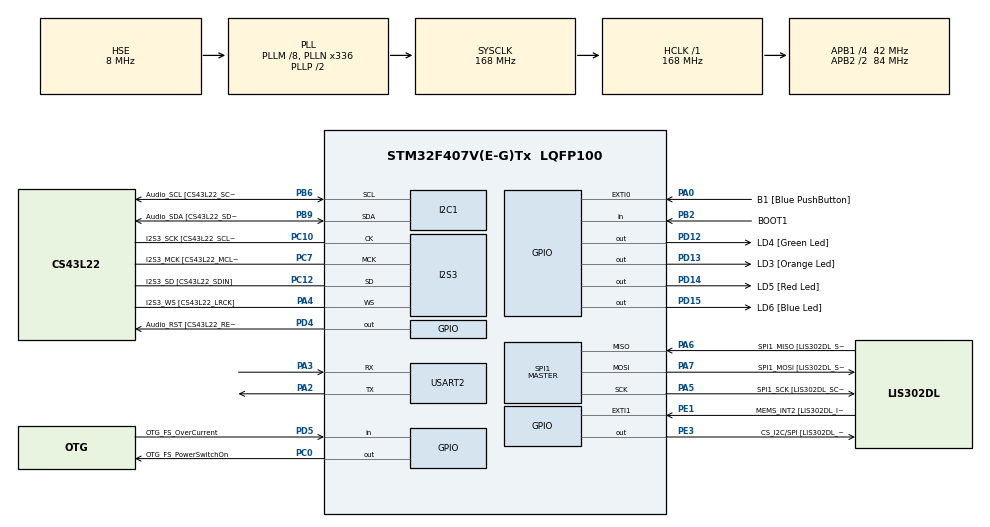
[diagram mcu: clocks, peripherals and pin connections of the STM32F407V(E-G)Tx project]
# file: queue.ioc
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FREERTOS.Tasks01=IdleTask,8,128,StartIdleTask,Default,NULL,Dynamic,NULL,NULL;myTask02,48,128,StartTask02,Default,NULL,Dynamic,NULL,NULL;myTask03,40,128,StartTask03,Default,NULL,Dynamic,NULL,NULL
I2S3.AudioFreq-Half_Duplex_Master=I2S_AUDIOFREQ_96K
I2S3.ErrorAudioFreq=-2.34 %
I2S3.ErrorAudioFreq-Half_Duplex_Master=0.8 %
I2S3.FullDuplexMode=I2S_FULLDUPLEXMODE_DISABLE
I2S3.Instance=SPI$Index
I2S3.RealAudioFreq=93.75 KHz
I2S3.RealAudioFreq-Half_Duplex_Master=96.774 KHz
I2S3.VirtualMode=I2S_MODE_MASTER
Mcu.Family=STM32F4
Mcu.Name=STM32F407V(E-G)Tx
Mcu.Package=LQFP100
NVIC.PriorityGroup=NVIC_PRIORITYGROUP_4
PA0-WKUP.GPIO_Label=B1 [Blue PushButton]
PA0-WKUP.GPIO_ModeDefaultEXTI=GPIO_MODE_EVT_RISING
PA0-WKUP.GPIO_PuPd=GPIO_NOPULL
PA0-WKUP.Signal=GPXTI0
PA10.GPIO_Label=OTG_FS_ID
PA10.GPIO_Mode=GPIO_MODE_AF_PP
PA10.GPIO_PuPd=GPIO_NOPULL
PA10.GPIO_Speed=GPIO_SPEED_FREQ_LOW
PA10.Signal=USB_OTG_FS_ID
PA11.GPIO_Label=OTG_FS_DM
PA11.GPIO_Mode=GPIO_MODE_AF_PP
PA11.GPIO_PuPd=GPIO_NOPULL
PA11.GPIO_Speed=GPIO_SPEED_FREQ_LOW
PA11.Signal=USB_OTG_FS_DM
PA12.GPIO_Label=OTG_FS_DP
PA12.GPIO_Mode=GPIO_MODE_AF_PP
PA12.GPIO_PuPd=GPIO_NOPULL
PA12.GPIO_Speed=GPIO_SPEED_FREQ_LOW
PA12.Signal=USB_OTG_FS_DP
PA13.GPIO_Label=SWDIO
PA13.Mode=Serial_Wire
PA13.Signal=SYS_JTMS-SWDIO
PA14.GPIO_Label=SWCLK
PA14.Mode=Serial_Wire
PA14.Signal=SYS_JTCK-SWCLK
PA2.Mode=Asynchronous
PA2.Signal=USART2_TX
PA3.Mode=Asynchronous
PA3.Signal=USART2_RX
PA4.GPIO_Label=I2S3_WS [CS43L22_LRCK]
PA4.GPIO_Mode=GPIO_MODE_AF_PP
PA4.GPIO_PuPd=GPIO_NOPULL
PA4.GPIO_Speed=GPIO_SPEED_FREQ_LOW
PA4.Mode=Half_Duplex_Master
PA4.Signal=I2S3_WS
PA5.GPIO_Label=SPI1_SCK [LIS302DL_SCL/SPC]
PA5.GPIO_Mode=GPIO_MODE_AF_PP
PA5.GPIO_PuPd=GPIO_NOPULL
PA5.GPIO_Speed=GPIO_SPEED_FREQ_LOW
PA5.Mode=Full_Duplex_Master
PA5.Signal=SPI1_SCK
PA6.GPIO_Label=SPI1_MISO [LIS302DL_SDO]
PA6.GPIO_Mode=GPIO_MODE_AF_PP
PA6.GPIO_PuPd=GPIO_NOPULL
PA6.GPIO_Speed=GPIO_SPEED_FREQ_LOW
PA6.Mode=Full_Duplex_Master
PA6.Signal=SPI1_MISO
PA7.GPIO_Label=SPI1_MOSI [LIS302DL_SDA/SDI/SDO]
PA7.GPIO_Mode=GPIO_MODE_AF_PP
PA7.GPIO_PuPd=GPIO_NOPULL
PA7.GPIO_Speed=GPIO_SPEED_FREQ_LOW
PA7.Mode=Full_Duplex_Master
PA7.Signal=SPI1_MOSI
PA9.GPIO_Label=VBUS_FS
PA9.GPIO_Mode=GPIO_MODE_INPUT
PA9.GPIO_PuPd=GPIO_NOPULL
PA9.Signal=USB_OTG_FS_VBUS
PB10.GPIO_Label=CLK_IN [MP45DT02_CLK]
PB10.GPIO_Mode=GPIO_MODE_AF_PP
PB10.GPIO_PuPd=GPIO_NOPULL
PB10.GPIO_Speed=GPIO_SPEED_FREQ_LOW
PB10.Signal=I2S2_CK
PB2.GPIO_Label=BOOT1
PB2.GPIO_Mode=GPIO_MODE_INPUT
PB2.GPIO_PuPd=GPIO_NOPULL
PB2.Signal=GPIO_Input
PB3.GPIO_Label=SWO
PB3.Signal=SYS_JTDO-SWO
PB6.GPIO_Label=Audio_SCL [CS43L22_SCL]
PB6.GPIO_Mode=GPIO_MODE_AF_OD
PB6.GPIO_PuPd=GPIO_NOPULL
PB6.GPIO_Speed=GPIO_SPEED_FREQ_LOW
PB6.Mode=I2C
PB6.Signal=I2C1_SCL
PB9.GPIO_Label=Audio_SDA [CS43L22_SDA]
PB9.GPIO_Mode=GPIO_MODE_AF_OD
PB9.GPIO_PuPd=GPIO_NOPULL
PB9.GPIO_Speed=GPIO_SPEED_FREQ_LOW
PB9.Mode=I2C
PB9.Signal=I2C1_SDA
PC0.GPIO_Label=OTG_FS_PowerSwitchOn
PC0.GPIO_PuPd=GPIO_NOPULL
PC0.GPIO_Speed=GPIO_SPEED_FREQ_LOW
PC0.PinState=GPIO_PIN_SET
PC0.Signal=GPIO_Output
PC10.GPIO_Label=I2S3_SCK [CS43L22_SCLK]
PC10.GPIO_Mode=GPIO_MODE_AF_PP
PC10.GPIO_PuPd=GPIO_NOPULL
PC10.GPIO_Speed=GPIO_SPEED_FREQ_LOW
PC10.Mode=Half_Duplex_Master
PC10.Signal=I2S3_CK
PC12.GPIO_Label=I2S3_SD [CS43L22_SDIN]
PC12.GPIO_Mode=GPIO_MODE_AF_PP
PC12.GPIO_PuPd=GPIO_NOPULL
PC12.GPIO_Speed=GPIO_SPEED_FREQ_LOW
PC12.Mode=Half_Duplex_Master
PC12.Signal=I2S3_SD
PC14-OSC32_IN.GPIO_Label=PC14-OSC32_IN
PC14-OSC32_IN.Mode=LSE-External-Oscillator
PC14-OSC32_IN.Signal=RCC_OSC32_IN
PC15-OSC32_OUT.GPIO_Label=PC15-OSC32_OUT
PC15-OSC32_OUT.Mode=LSE-External-Oscillator
PC15-OSC32_OUT.Signal=RCC_OSC32_OUT
PC3.GPIO_Label=PDM_OUT [MP45DT02_DOUT]
PC3.GPIO_Mode=GPIO_MODE_AF_PP
PC3.GPIO_PuPd=GPIO_NOPULL
PC3.GPIO_Speed=GPIO_SPEED_FREQ_LOW
PC3.Signal=I2S2_SD
PC7.GPIO_Label=I2S3_MCK [CS43L22_MCLK]
PC7.GPIO_Mode=GPIO_MODE_AF_PP
PC7.GPIO_PuPd=GPIO_NOPULL
PC7.GPIO_Speed=GPIO_SPEED_FREQ_LOW
PC7.Mode=Master_Clock_Activated
PC7.Signal=I2S3_MCK
PD12.GPIO_Label=LD4 [Green Led]
PD12.GPIO_PuPd=GPIO_NOPULL
PD12.GPIO_Speed=GPIO_SPEED_FREQ_LOW
PD12.Signal=GPIO_Output
PD13.GPIO_Label=LD3 [Orange Led]
PD13.GPIO_PuPd=GPIO_NOPULL
PD13.GPIO_Speed=GPIO_SPEED_FREQ_LOW
PD13.Signal=GPIO_Output
PD14.GPIO_Label=LD5 [Red Led]
PD14.GPIO_PuPd=GPIO_NOPULL
PD14.GPIO_Speed=GPIO_SPEED_FREQ_LOW
PD14.Signal=GPIO_Output
PD15.GPIO_Label=LD6 [Blue Led]
PD15.GPIO_PuPd=GPIO_NOPULL
PD15.GPIO_Speed=GPIO_SPEED_FREQ_LOW
PD15.Signal=GPIO_Output
PD4.GPIO_Label=Audio_RST [CS43L22_RESET]
PD4.GPIO_PuPd=GPIO_NOPULL
PD4.GPIO_Speed=GPIO_SPEED_FREQ_LOW
PD4.Signal=GPIO_Output
PD5.GPIO_Label=OTG_FS_OverCurrent
PD5.GPIO_Mode=GPIO_MODE_INPUT
PD5.GPIO_PuPd=GPIO_NOPULL
PD5.Signal=GPIO_Input
PE1.GPIO_Label=MEMS_INT2 [LIS302DL_INT2]
PE1.GPIO_ModeDefaultEXTI=GPIO_MODE_EVT_RISING
PE1.GPIO_PuPd=GPIO_NOPULL
PE1.Signal=GPXTI1
PE3.GPIO_Label=CS_I2C/SPI [LIS302DL_CS_I2C/SPI]
PE3.GPIO_PuPd=GPIO_NOPULL
PE3.GPIO_Speed=GPIO_SPEED_FREQ_LOW
PE3.Signal=GPIO_Output
PH0-OSC_IN.GPIO_Label=PH0-OSC_IN
PH0-OSC_IN.Mode=HSE-External-Oscillator
PH0-OSC_IN.Signal=RCC_OSC_IN
PH1-OSC_OUT.GPIO_Label=PH1-OSC_OUT
PH1-OSC_OUT.Mode=HSE-External-Oscillator
PH1-OSC_OUT.Signal=RCC_OSC_OUT
ProjectManager.HeapSize=0x200
ProjectManager.StackSize=0x400
ProjectManager.TargetToolchain=STM32CubeIDE
RCC.48MHZClocksFreq_Value=48000000
RCC.AHBFreq_Value=168000000
RCC.APB1CLKDivider=RCC_HCLK_DIV4
RCC.APB1Freq_Value=42000000
RCC.APB1TimFreq_Value=84000000
RCC.APB2CLKDivider=RCC_HCLK_DIV2
RCC.APB2Freq_Value=84000000
RCC.APB2TimFreq_Value=168000000
RCC.CortexFreq_Value=168000000
RCC.HCLKFreq_Value=168000000
RCC.HSE_VALUE=8000000
RCC.HSI_VALUE=16000000
RCC.PLLM=8
RCC.PLLN=336
RCC.PLLQ=7
RCC.PLLSourceVirtual=RCC_PLLSOURCE_HSE
RCC.SYSCLKFreq_VALUE=168000000
RCC.SYSCLKSource=RCC_SYSCLKSOURCE_PLLCLK
RCC.VCOOutputFreq_Value=336000000
SPI1.BaudRatePrescaler-Full_Duplex_Master=SPI_BAUDRATEPRESCALER_2
SPI1.CalculateBaudRate-Full_Duplex_Master=42.0 MBits/s
SPI1.Direction=SPI_DIRECTION_2LINES
SPI1.Mode=SPI_MODE_MASTER
SPI1.Mode-Full_Duplex_Master=SPI_MODE_MASTER
SPI1.VirtualType=VM_MASTER
USART2.VirtualMode=VM_ASYNC
VP_FREERTOS_VS_CMSIS_V2.Mode=CMSIS_V2
VP_RTC_VS_RTC_Activate.Mode=RTC_Enabled
VP_RTC_VS_RTC_Calendar.Mode=RTC_Calendar
VP_TIM1_VS_ClockSourceINT.Mode=Internal
board=STM32F407G-DISC1

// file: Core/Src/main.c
/* USER CODE BEGIN Header */
/**
  ******************************************************************************
  * @file           : main.c
  * @brief          : Main program body
  ******************************************************************************
  * @attention
  *
  * <h2><center>&copy; Copyright (c) 2021 STMicroelectronics.
  * All rights reserved.</center></h2>
  *
  * This software component is licensed by ST under Ultimate Liberty license
  * SLA0044, the "License"; You may not use this file except in compliance with
  * the License. You may obtain a copy of the License at:
  *                             www.st.com/SLA0044
  *
  ******************************************************************************
  */
/* USER CODE END Header */

#include "main.h"
#include "cmsis_os.h"

/* USER CODE BEGIN Includes */
#include "string.h"
#include "stdio.h"

#include "FreeRTOS.h"
#include "task.h"
#include "queue.h"
/* USER CODE END Includes */

/* USER CODE BEGIN PTD */
typedef struct {
	char *str;
	int counter;
	uint16_t large_value;
} my_struct;
/* USER CODE END PTD */

I2C_HandleTypeDef hi2c1;

I2S_HandleTypeDef hi2s3;

RTC_HandleTypeDef hrtc;

SPI_HandleTypeDef hspi1;

TIM_HandleTypeDef htim1;

UART_HandleTypeDef huart2;

/* Definitions for IdleTask */
osThreadId_t IdleTaskHandle;
const osThreadAttr_t IdleTask_attributes = {
  .name = "IdleTask",
  .priority = (osPriority_t) osPriorityLow,
  .stack_size = 128 * 4
};
/* Definitions for myTask02 */
osThreadId_t myTask02Handle;
const osThreadAttr_t myTask02_attributes = {
  .name = "myTask02",
  .priority = (osPriority_t) osPriorityRealtime,
  .stack_size = 128 * 4
};
/* Definitions for myTask03 */
osThreadId_t myTask03Handle;
const osThreadAttr_t myTask03_attributes = {
  .name = "myTask03",
  .priority = (osPriority_t) osPriorityHigh,
  .stack_size = 128 * 4
};

void SystemClock_Config(void);
static void MX_GPIO_Init(void);
static void MX_I2C1_Init(void);
static void MX_I2S3_Init(void);
static void MX_SPI1_Init(void);
static void MX_RTC_Init(void);
static void MX_TIM1_Init(void);
static void MX_USART2_UART_Init(void);
void StartIdleTask(void *argument);
void StartTask02(void *argument);
void StartTask03(void *argument);

/* USER CODE BEGIN 0 */

/************* QUEUE HANDLER *************/
xQueueHandle ST_Queue_Handler;

/* USER CODE END 0 */

int main(void)
{

  /* MCU Configuration--------------------------------------------------------*/

  /* Reset of all peripherals, Initializes the Flash interface and the Systick. */
  HAL_Init();

  /* Configure the system clock */
  SystemClock_Config();

  /* Initialize all configured peripherals */
  MX_GPIO_Init();
  MX_I2C1_Init();
  MX_I2S3_Init();
  MX_SPI1_Init();
  MX_RTC_Init();
  MX_TIM1_Init();
  MX_USART2_UART_Init();
  /* USER CODE BEGIN 2 */
  ST_Queue_Handler = xQueueCreate(5,sizeof(my_struct));
  if(ST_Queue_Handler == 0)
  {
	  char *str = "Unable to create STRUCTURE Queue \r\n";
	  HAL_UART_Transmit(&huart2,(uint8_t *)str,strlen(str), 1000);
  }
  else
  {
	  char *str = "Successfully to create STRUCTURE Queue \r\n";
	  HAL_UART_Transmit(&huart2,(uint8_t *)str,strlen(str), 1000);
  }

  /* USER CODE END 2 */

  /* Init scheduler */
  osKernelInitialize();

  /* Create the thread(s) */
  /* creation of IdleTask */
  IdleTaskHandle = osThreadNew(StartIdleTask, NULL, &IdleTask_attributes);

  /* creation of myTask02 */
  myTask02Handle = osThreadNew(StartTask02, NULL, &myTask02_attributes);

  /* creation of myTask03 */
  myTask03Handle = osThreadNew(StartTask03, NULL, &myTask03_attributes);

  /* Start scheduler */
  osKernelStart();

  /* We should never get here as control is now taken by the scheduler */
  /* Infinite loop */
  while (1)
  {

  }
}

void SystemClock_Config(void)
{
  RCC_OscInitTypeDef RCC_OscInitStruct = {0};
  RCC_ClkInitTypeDef RCC_ClkInitStruct = {0};
  RCC_PeriphCLKInitTypeDef PeriphClkInitStruct = {0};

  /** Configure the main internal regulator output voltage
  */
  __HAL_RCC_PWR_CLK_ENABLE();
  __HAL_PWR_VOLTAGESCALING_CONFIG(PWR_REGULATOR_VOLTAGE_SCALE1);
  /** Initializes the CPU, AHB and APB busses clocks
  */
  RCC_OscInitStruct.OscillatorType = RCC_OSCILLATORTYPE_LSI|RCC_OSCILLATORTYPE_HSE;
  RCC_OscInitStruct.HSEState = RCC_HSE_ON;
  RCC_OscInitStruct.LSIState = RCC_LSI_ON;
  RCC_OscInitStruct.PLL.PLLState = RCC_PLL_ON;
  RCC_OscInitStruct.PLL.PLLSource = RCC_PLLSOURCE_HSE;
  RCC_OscInitStruct.PLL.PLLM = 8;
  RCC_OscInitStruct.PLL.PLLN = 336;
  RCC_OscInitStruct.PLL.PLLP = RCC_PLLP_DIV2;
  RCC_OscInitStruct.PLL.PLLQ = 7;
  if (HAL_RCC_OscConfig(&RCC_OscInitStruct) != HAL_OK)
  {
    Error_Handler();
  }
  /** Initializes the CPU, AHB and APB busses clocks
  */
  RCC_ClkInitStruct.ClockType = RCC_CLOCKTYPE_HCLK|RCC_CLOCKTYPE_SYSCLK
                              |RCC_CLOCKTYPE_PCLK1|RCC_CLOCKTYPE_PCLK2;
  RCC_ClkInitStruct.SYSCLKSource = RCC_SYSCLKSOURCE_PLLCLK;
  RCC_ClkInitStruct.AHBCLKDivider = RCC_SYSCLK_DIV1;
  RCC_ClkInitStruct.APB1CLKDivider = RCC_HCLK_DIV4;
  RCC_ClkInitStruct.APB2CLKDivider = RCC_HCLK_DIV2;

  if (HAL_RCC_ClockConfig(&RCC_ClkInitStruct, FLASH_LATENCY_5) != HAL_OK)
  {
    Error_Handler();
  }
  PeriphClkInitStruct.PeriphClockSelection = RCC_PERIPHCLK_I2S|RCC_PERIPHCLK_RTC;
  PeriphClkInitStruct.PLLI2S.PLLI2SN = 192;
  PeriphClkInitStruct.PLLI2S.PLLI2SR = 2;
  PeriphClkInitStruct.RTCClockSelection = RCC_RTCCLKSOURCE_LSI;
  if (HAL_RCCEx_PeriphCLKConfig(&PeriphClkInitStruct) != HAL_OK)
  {
    Error_Handler();
  }
}

static void MX_I2C1_Init(void)
{

  hi2c1.Instance = I2C1;
  hi2c1.Init.ClockSpeed = 100000;
  hi2c1.Init.DutyCycle = I2C_DUTYCYCLE_2;
  hi2c1.Init.OwnAddress1 = 0;
  hi2c1.Init.AddressingMode = I2C_ADDRESSINGMODE_7BIT;
  hi2c1.Init.DualAddressMode = I2C_DUALADDRESS_DISABLE;
  hi2c1.Init.OwnAddress2 = 0;
  hi2c1.Init.GeneralCallMode = I2C_GENERALCALL_DISABLE;
  hi2c1.Init.NoStretchMode = I2C_NOSTRETCH_DISABLE;
  if (HAL_I2C_Init(&hi2c1) != HAL_OK)
  {
    Error_Handler();
  }

}

static void MX_I2S3_Init(void)
{

  hi2s3.Instance = SPI3;
  hi2s3.Init.Mode = I2S_MODE_MASTER_TX;
  hi2s3.Init.Standard = I2S_STANDARD_PHILIPS;
  hi2s3.Init.DataFormat = I2S_DATAFORMAT_16B;
  hi2s3.Init.MCLKOutput = I2S_MCLKOUTPUT_ENABLE;
  hi2s3.Init.AudioFreq = I2S_AUDIOFREQ_96K;
  hi2s3.Init.CPOL = I2S_CPOL_LOW;
  hi2s3.Init.ClockSource = I2S_CLOCK_PLL;
  hi2s3.Init.FullDuplexMode = I2S_FULLDUPLEXMODE_DISABLE;
  if (HAL_I2S_Init(&hi2s3) != HAL_OK)
  {
    Error_Handler();
  }

}

static void MX_RTC_Init(void)
{

  RTC_TimeTypeDef sTime = {0};
  RTC_DateTypeDef sDate = {0};

  /** Initialize RTC Only
  */
  hrtc.Instance = RTC;
  hrtc.Init.HourFormat = RTC_HOURFORMAT_24;
  hrtc.Init.AsynchPrediv = 127;
  hrtc.Init.SynchPrediv = 255;
  hrtc.Init.OutPut = RTC_OUTPUT_DISABLE;
  hrtc.Init.OutPutPolarity = RTC_OUTPUT_POLARITY_HIGH;
  hrtc.Init.OutPutType = RTC_OUTPUT_TYPE_OPENDRAIN;
  if (HAL_RTC_Init(&hrtc) != HAL_OK)
  {
    Error_Handler();
  }

  /** Initialize RTC and set the Time and Date
  */
  sTime.Hours = 0x0;
  sTime.Minutes = 0x0;
  sTime.Seconds = 0x0;
  sTime.DayLightSaving = RTC_DAYLIGHTSAVING_NONE;
  sTime.StoreOperation = RTC_STOREOPERATION_RESET;
  if (HAL_RTC_SetTime(&hrtc, &sTime, RTC_FORMAT_BCD) != HAL_OK)
  {
    Error_Handler();
  }
  sDate.WeekDay = RTC_WEEKDAY_MONDAY;
  sDate.Month = RTC_MONTH_JANUARY;
  sDate.Date = 0x1;
  sDate.Year = 0x0;

  if (HAL_RTC_SetDate(&hrtc, &sDate, RTC_FORMAT_BCD) != HAL_OK)
  {
    Error_Handler();
  }

}

static void MX_SPI1_Init(void)
{

  /* SPI1 parameter configuration*/
  hspi1.Instance = SPI1;
  hspi1.Init.Mode = SPI_MODE_MASTER;
  hspi1.Init.Direction = SPI_DIRECTION_2LINES;
  hspi1.Init.DataSize = SPI_DATASIZE_8BIT;
  hspi1.Init.CLKPolarity = SPI_POLARITY_LOW;
  hspi1.Init.CLKPhase = SPI_PHASE_1EDGE;
  hspi1.Init.NSS = SPI_NSS_SOFT;
  hspi1.Init.BaudRatePrescaler = SPI_BAUDRATEPRESCALER_2;
  hspi1.Init.FirstBit = SPI_FIRSTBIT_MSB;
  hspi1.Init.TIMode = SPI_TIMODE_DISABLE;
  hspi1.Init.CRCCalculation = SPI_CRCCALCULATION_DISABLE;
  hspi1.Init.CRCPolynomial = 10;
  if (HAL_SPI_Init(&hspi1) != HAL_OK)
  {
    Error_Handler();
  }

}

static void MX_TIM1_Init(void)
{

  TIM_ClockConfigTypeDef sClockSourceConfig = {0};
  TIM_MasterConfigTypeDef sMasterConfig = {0};

  htim1.Instance = TIM1;
  htim1.Init.Prescaler = 0;
  htim1.Init.CounterMode = TIM_COUNTERMODE_UP;
  htim1.Init.Period = 0;
  htim1.Init.ClockDivision = TIM_CLOCKDIVISION_DIV1;
  htim1.Init.RepetitionCounter = 0;
  htim1.Init.AutoReloadPreload = TIM_AUTORELOAD_PRELOAD_DISABLE;
  if (HAL_TIM_Base_Init(&htim1) != HAL_OK)
  {
    Error_Handler();
  }
  sClockSourceConfig.ClockSource = TIM_CLOCKSOURCE_INTERNAL;
  if (HAL_TIM_ConfigClockSource(&htim1, &sClockSourceConfig) != HAL_OK)
  {
    Error_Handler();
  }
  sMasterConfig.MasterOutputTrigger = TIM_TRGO_RESET;
  sMasterConfig.MasterSlaveMode = TIM_MASTERSLAVEMODE_DISABLE;
  if (HAL_TIMEx_MasterConfigSynchronization(&htim1, &sMasterConfig) != HAL_OK)
  {
    Error_Handler();
  }

}

static void MX_USART2_UART_Init(void)
{

  huart2.Instance = USART2;
  huart2.Init.BaudRate = 115200;
  huart2.Init.WordLength = UART_WORDLENGTH_8B;
  huart2.Init.StopBits = UART_STOPBITS_1;
  huart2.Init.Parity = UART_PARITY_NONE;
  huart2.Init.Mode = UART_MODE_TX_RX;
  huart2.Init.HwFlowCtl = UART_HWCONTROL_NONE;
  huart2.Init.OverSampling = UART_OVERSAMPLING_16;
  if (HAL_UART_Init(&huart2) != HAL_OK)
  {
    Error_Handler();
  }

}

static void MX_GPIO_Init(void)
{
  GPIO_InitTypeDef GPIO_InitStruct = {0};

  /* GPIO Ports Clock Enable */
  __HAL_RCC_GPIOE_CLK_ENABLE();
  __HAL_RCC_GPIOC_CLK_ENABLE();
  __HAL_RCC_GPIOH_CLK_ENABLE();
  __HAL_RCC_GPIOA_CLK_ENABLE();
  __HAL_RCC_GPIOB_CLK_ENABLE();
  __HAL_RCC_GPIOD_CLK_ENABLE();

  /*Configure GPIO pin Output Level */
  HAL_GPIO_WritePin(CS_I2C_SPI_GPIO_Port, CS_I2C_SPI_Pin, GPIO_PIN_RESET);

  /*Configure GPIO pin Output Level */
  HAL_GPIO_WritePin(OTG_FS_PowerSwitchOn_GPIO_Port, OTG_FS_PowerSwitchOn_Pin, GPIO_PIN_SET);

  /*Configure GPIO pin Output Level */
  HAL_GPIO_WritePin(GPIOD, LD4_Pin|LD3_Pin|LD5_Pin|LD6_Pin
                          |Audio_RST_Pin, GPIO_PIN_RESET);

  /*Configure GPIO pin : CS_I2C_SPI_Pin */
  GPIO_InitStruct.Pin = CS_I2C_SPI_Pin;
  GPIO_InitStruct.Mode = GPIO_MODE_OUTPUT_PP;
  GPIO_InitStruct.Pull = GPIO_NOPULL;
  GPIO_InitStruct.Speed = GPIO_SPEED_FREQ_LOW;
  HAL_GPIO_Init(CS_I2C_SPI_GPIO_Port, &GPIO_InitStruct);

  /*Configure GPIO pin : OTG_FS_PowerSwitchOn_Pin */
  GPIO_InitStruct.Pin = OTG_FS_PowerSwitchOn_Pin;
  GPIO_InitStruct.Mode = GPIO_MODE_OUTPUT_PP;
  GPIO_InitStruct.Pull = GPIO_NOPULL;
  GPIO_InitStruct.Speed = GPIO_SPEED_FREQ_LOW;
  HAL_GPIO_Init(OTG_FS_PowerSwitchOn_GPIO_Port, &GPIO_InitStruct);

  /*Configure GPIO pin : PDM_OUT_Pin */
  GPIO_InitStruct.Pin = PDM_OUT_Pin;
  GPIO_InitStruct.Mode = GPIO_MODE_AF_PP;
  GPIO_InitStruct.Pull = GPIO_NOPULL;
  GPIO_InitStruct.Speed = GPIO_SPEED_FREQ_LOW;
  GPIO_InitStruct.Alternate = GPIO_AF5_SPI2;
  HAL_GPIO_Init(PDM_OUT_GPIO_Port, &GPIO_InitStruct);

  /*Configure GPIO pin : B1_Pin */
  GPIO_InitStruct.Pin = B1_Pin;
  GPIO_InitStruct.Mode = GPIO_MODE_EVT_RISING;
  GPIO_InitStruct.Pull = GPIO_NOPULL;
  HAL_GPIO_Init(B1_GPIO_Port, &GPIO_InitStruct);

  /*Configure GPIO pin : BOOT1_Pin */
  GPIO_InitStruct.Pin = BOOT1_Pin;
  GPIO_InitStruct.Mode = GPIO_MODE_INPUT;
  GPIO_InitStruct.Pull = GPIO_NOPULL;
  HAL_GPIO_Init(BOOT1_GPIO_Port, &GPIO_InitStruct);

  /*Configure GPIO pin : CLK_IN_Pin */
  GPIO_InitStruct.Pin = CLK_IN_Pin;
  GPIO_InitStruct.Mode = GPIO_MODE_AF_PP;
  GPIO_InitStruct.Pull = GPIO_NOPULL;
  GPIO_InitStruct.Speed = GPIO_SPEED_FREQ_LOW;
  GPIO_InitStruct.Alternate = GPIO_AF5_SPI2;
  HAL_GPIO_Init(CLK_IN_GPIO_Port, &GPIO_InitStruct);

  /*Configure GPIO pins : LD4_Pin LD3_Pin LD5_Pin LD6_Pin
                           Audio_RST_Pin */
  GPIO_InitStruct.Pin = LD4_Pin|LD3_Pin|LD5_Pin|LD6_Pin
                          |Audio_RST_Pin;
  GPIO_InitStruct.Mode = GPIO_MODE_OUTPUT_PP;
  GPIO_InitStruct.Pull = GPIO_NOPULL;
  GPIO_InitStruct.Speed = GPIO_SPEED_FREQ_LOW;
  HAL_GPIO_Init(GPIOD, &GPIO_InitStruct);

  /*Configure GPIO pin : VBUS_FS_Pin */
  GPIO_InitStruct.Pin = VBUS_FS_Pin;
  GPIO_InitStruct.Mode = GPIO_MODE_INPUT;
  GPIO_InitStruct.Pull = GPIO_NOPULL;
  HAL_GPIO_Init(VBUS_FS_GPIO_Port, &GPIO_InitStruct);

  /*Configure GPIO pins : OTG_FS_ID_Pin OTG_FS_DM_Pin OTG_FS_DP_Pin */
  GPIO_InitStruct.Pin = OTG_FS_ID_Pin|OTG_FS_DM_Pin|OTG_FS_DP_Pin;
  GPIO_InitStruct.Mode = GPIO_MODE_AF_PP;
  GPIO_InitStruct.Pull = GPIO_NOPULL;
  GPIO_InitStruct.Speed = GPIO_SPEED_FREQ_LOW;
  GPIO_InitStruct.Alternate = GPIO_AF10_OTG_FS;
  HAL_GPIO_Init(GPIOA, &GPIO_InitStruct);

  /*Configure GPIO pin : OTG_FS_OverCurrent_Pin */
  GPIO_InitStruct.Pin = OTG_FS_OverCurrent_Pin;
  GPIO_InitStruct.Mode = GPIO_MODE_INPUT;
  GPIO_InitStruct.Pull = GPIO_NOPULL;
  HAL_GPIO_Init(OTG_FS_OverCurrent_GPIO_Port, &GPIO_InitStruct);

  /*Configure GPIO pin : MEMS_INT2_Pin */
  GPIO_InitStruct.Pin = MEMS_INT2_Pin;
  GPIO_InitStruct.Mode = GPIO_MODE_EVT_RISING;
  GPIO_InitStruct.Pull = GPIO_NOPULL;
  HAL_GPIO_Init(MEMS_INT2_GPIO_Port, &GPIO_InitStruct);

}

void StartIdleTask(void *argument)
{
  for(;;)
  {
    osDelay(1);
  }
}

void StartTask02(void *argument)
{
  /* USER CODE BEGIN StartTask02 */
	my_struct *ptrtostruct;
	char *str = "Enter SENDER_TASK\r\n";
	HAL_UART_Transmit(&huart2,(uint8_t *)str,strlen(str), 1000);
	HAL_Delay(1000);
  /* Infinite loop */
  for(;;)
  {
	ptrtostruct = pvPortMalloc(sizeof(my_struct));

	ptrtostruct->counter = 1;
	ptrtostruct->large_value = 1000;
	ptrtostruct->str = "HELLO FROM SENDER1\r\n";

	if(xQueueSend(ST_Queue_Handler, &ptrtostruct, 1000) == pdPASS)
	{
		char *str2 = "Successfully sent to the queue\r\n";
		HAL_UART_Transmit(&huart2,(uint8_t *)str2,strlen(str2), 1000);
	}
    osDelay(1000);
  }
  /* USER CODE END StartTask02 */
}

void StartTask03(void *argument)
{
  /* USER CODE BEGIN StartTask03 */
  my_struct *Rptrtostruct;
  char *str = "Enter Receive_TASK\r\n";
  char *ptr;
  HAL_UART_Transmit(&huart2,(uint8_t *)str,strlen(str), 1000);
  HAL_Delay(1000);
  /* Infinite loop */
  for(;;)
  {
	  if(xQueueReceive(ST_Queue_Handler, &Rptrtostruct, portMAX_DELAY) == pdPASS)
	  	{
	  		ptr = pvPortMalloc(100 * sizeof(char));
	  		sprintf(ptr,"Received from Queue:\nCOUNTER = %d\nLARGE VALUE = %u\nSTRING = %s\n\n\n",Rptrtostruct->counter,Rptrtostruct->large_value,Rptrtostruct->str);
	  	    HAL_UART_Transmit(&huart2,(uint8_t *)ptr,strlen(ptr), HAL_MAX_DELAY);

	  	    vPortFree(ptr);
	  	}
    osDelay(1000);
  }
  /* USER CODE END StartTask03 */
}

void Error_Handler(void)
{
}

/************************ (C) COPYRIGHT STMicroelectronics *****END OF FILE****/
